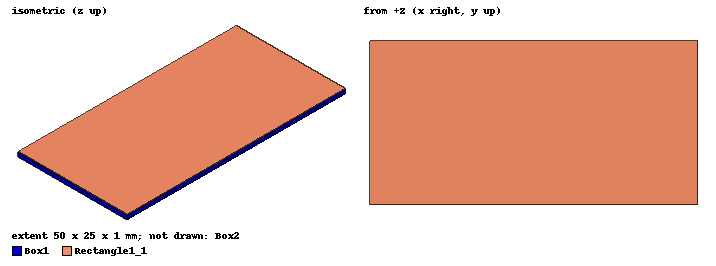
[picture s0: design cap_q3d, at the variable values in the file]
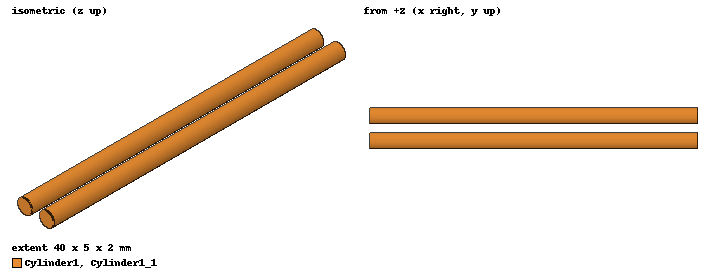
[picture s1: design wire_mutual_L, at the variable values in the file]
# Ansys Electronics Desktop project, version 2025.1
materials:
  air: permittivity=1.0006 permeability=1.0000004
  gallium_arsenide: permittivity=12.9 conductivity=1e-05
  gold: permeability=0.99996 conductivity=41000000
  sapphire: permittivity=9.4
  vacuum: permittivity=1
  copper: permeability=0.999991 conductivity=58000000
  FR4_epoxy: permittivity=4.4 dielectric_loss_tangent=0.02
  SolderMask: permittivity=3.1 dielectric_loss_tangent=0.035

design CPW_transition (HFSS, HFSS Terminal Network, model units mm)
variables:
  subx = 2mm
  suby = s + 2*(g+gnd_width) + 3000um
  subz = 500um
  s = 60um
  g = 28.5um
  gnd_width = 200um
  Tmet = 2um
  air_box_h = subz + 15000um
  porty = 3*(2*g+s)
  portz = 2*subz
  airx = subx
  airy = suby+15000um
  abpillarx = 20um
  abpillary = 20um
  abpillarz = 4um
  transition_gap = 1000um
  pillarh = 80um  # optimise 40um..120um
  sig_p_r = 20um
  overlay_pad = overlay_tol
  g_pillar_seperation = 100um
  gnd_p_r = 30um
  chipx = transition_gap+ 2*overlay_tol + 2*dielectric_overlap
  chipy = 3mm
  overlay_tol = 50um  # optimise 25um..75um
  dielectric_overlap = 1mm
  chip_s = 60um
  chip_g = 51um
  chip_gnd_width = 200um
  bonder_tol = 10um
  trace_overlap = transition_gap + 2* overlay_tol + 4*gnd_p_r + bonder_tol
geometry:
  substrate [sapphire] = box(corner=(-subx/2, -suby/2, 0mm), size=(subx, suby, subz))
  signal_dummy [vacuum, non-model] = substrate.section(plane=ZX)
  signal_dummy.thicken(s, both sides)
  gap_dummy1 [vacuum, non-model] = sweep_along_normal(signal_dummy.face(at (0, -0.03, 0.25)), length=g)
  gap_dummy2 [vacuum, non-model] = sweep_along_normal(signal_dummy.face(at (0, 0.03, 0.25)), length=g)
  gnd_dummy1 [vacuum, non-model] = sweep_along_normal(gap_dummy1.face(at (0, -0.0585, 0.25)), length=gnd_width)
  gnd_dummy2 [vacuum, non-model] = sweep_along_normal(gap_dummy2.face(at (0, 0.0585, 0.25)), length=gnd_width)
  port1 = rectangle(corner=(subx/2, -porty/2, 50um), y_size=porty, z_size=portz)
  port2 = rectangle(corner=(-subx/2, -porty/2, 50um), y_size=porty, z_size=portz)
  airbox [air] = box(corner=(-airx/2, -airy/2, -air_box_h/2), size=(airx, airy, air_box_h))
  backside_gnd [gold] = sweep_along_normal(substrate.face(-z), length=2um)
  substrate_Section1 = substrate.section(plane=YZ)
  substrate_Section1.thicken(transition_gap, both sides)
  substrate_Section1_1 = substrate_Section1.copy()
  gap_dummy1.subtract(substrate_Section1_1)
  substrate_Section1_2 = substrate_Section1.copy()
  gap_dummy2.subtract(substrate_Section1_2)
  substrate_Section1_3 = substrate_Section1.copy()
  gnd_dummy1.subtract(substrate_Section1_3)
  substrate_Section1_4 = substrate_Section1.copy()
  gnd_dummy2.subtract(substrate_Section1_4)
  signal_dummy.subtract(substrate_Section1)
  gnd1_1 [gold] = sweep_along_normal(gnd_dummy1.face(at (0.75, -0.1585, 0.5), at (-0.75, -0.1585, 0.5)), length=Tmet)
  signal1 [gold] = sweep_along_normal(signal_dummy.face(at (0.75, 0, 0.5), at (-0.75, 0, 0.5)), length=Tmet)
  gnd2_1 [gold] = sweep_along_normal(gnd_dummy2.face(at (0.75, 0.1585, 0.5), at (-0.75, 0.1585, 0.5)), length=Tmet)
  p_sig_1 [gold] = cylinder(axis=Z, base_centre=(transition_gap/2 + sig_p_r  + overlay_pad, 0mm, subz+Tmet), radius=sig_p_r, height=pillarh)
  p_gnd_1_1 [gold] = cylinder(axis=Z, base_centre=(transition_gap/2 + sig_p_r  + overlay_pad, -g -s/2 - g_pillar_seperation, subz+Tmet), radius=gnd_p_r, height=pillarh)
  p_gnd_2_1 [gold] = p_gnd_1_1.duplicate_mirror(point=(0.53mm, 0mm, 0.502mm), normal=(2.7755576e-14mm, 1mm, 0mm))
  chip [gallium_arsenide] = box(corner=(-chipx/2, -chipy/2, subz+2*Tmet+pillarh), size=(chipx, chipy, subz))
  chip_signal_dummy [gallium_arsenide, non-model] = chip.section(plane=ZX)
  chip_signal_dummy.thicken(chip_s, both sides)
  chip_gap_dummy2, chip_gap_dummy1 [gallium_arsenide, non-model] = sweep_along_normal(chip_signal_dummy.face(at (0, 0.03, 0.834), at (0, -0.03, 0.834)), length=chip_g)
  chip_gnd_dummy2 [gallium_arsenide, non-model] = sweep_along_normal(chip_gap_dummy2.face(at (0, 0.081, 0.834)), length=chip_gnd_width)
  chip_gnd_dummy1 [gallium_arsenide, non-model] = sweep_along_normal(chip_gap_dummy1.face(at (0, -0.081, 0.834)), length=chip_gnd_width)
  chip_Section1_Section1 [gallium_arsenide, non-model] = chip_signal_dummy.section(plane=YZ)
  chip_Section1_SweepFaceAlongNormal1_Section1 [gallium_arsenide, non-model] = chip_gap_dummy2.section(plane=YZ)
  chip_Section1_SweepFaceAlongNormal2_Section1 [gallium_arsenide, non-model] = chip_gap_dummy1.section(plane=YZ)
  chip_Section1_SweepFaceAlongNormal1_SweepFaceAlongNormal1_Section1 [gallium_arsenide, non-model] = chip_gnd_dummy2.section(plane=YZ)
  chip_Section1_SweepFaceAlongNormal2_SweepFaceAlongNormal1_Section1 [gallium_arsenide, non-model] = chip_gnd_dummy1.section(plane=YZ)
  [chip_Section1_Section1, chip_Section1_SweepFaceAlongNormal1_Section1, chip_Section1_SweepFaceAlongNormal2_Section1, chip_Section1_SweepFaceAlongNormal1_SweepFaceAlongNormal1_Section1, chip_Section1_SweepFaceAlongNormal2_SweepFaceAlongNormal1_Section1].thicken(trace_overlap, both sides)
  chip_gnd1 [gold] = sweep_along_normal(chip_Section1_SweepFaceAlongNormal2_SweepFaceAlongNormal1_Section1.face(at (0, -0.181, 0.584)), length=Tmet)
  chip_gnd2 [gold] = sweep_along_normal(chip_Section1_SweepFaceAlongNormal1_SweepFaceAlongNormal1_Section1.face(at (0, 0.181, 0.584)), length=Tmet)
  chip_signal [gold] = sweep_along_normal(chip_Section1_Section1.face(at (0, 0, 0.584)), length=Tmet)
  backside_gnd.move_faces(MoveAlongNormalFlag=false MoveVectorX=0.6mm MoveVectorY=0mm MoveVectorZ=0mm FacesToMove=backside_gnd.face(at (-0.4, 0, -0.001)))
  substrate.move_faces(MoveAlongNormalFlag=false MoveVectorX=0.6mm MoveVectorY=0mm MoveVectorZ=0mm FacesToMove=substrate.face(-x))
  chip_gnd1.move_faces(MoveAlongNormalFlag=false MoveVectorX=0.2666mm MoveVectorY=0mm MoveVectorZ=0mm FacesToMove=chip_gnd1.face(at (-0.615, -0.181, 0.583)))
  chip_signal.move_faces(MoveAlongNormalFlag=false MoveVectorX=0.2666mm MoveVectorY=0mm MoveVectorZ=0mm FacesToMove=chip_signal.face(at (-0.615, 0, 0.583)))
  chip_gnd2.move_faces(MoveAlongNormalFlag=false MoveVectorX=0.2666mm MoveVectorY=0mm MoveVectorZ=0mm FacesToMove=chip_gnd2.face(at (-0.615, 0.181, 0.583)))
  substrate.move_faces(MoveAlongNormalFlag=false MoveVectorX=0.0516mm MoveVectorY=1.4775mm MoveVectorZ=0.024mm FacesToMove=substrate.face(-x))
  substrate.move_faces(MoveAlongNormalFlag=false MoveVectorX=0.4484mm MoveVectorY=0mm MoveVectorZ=0mm FacesToMove=substrate.face(-x))
  chip.move_faces(MoveAlongNormalFlag=false MoveVectorX=1.2016mm MoveVectorY=1.219mm MoveVectorZ=0mm FacesToMove=chip.face(-x))
  backside_gnd.move_faces(MoveAlongNormalFlag=false MoveVectorX=0.5mm MoveVectorY=3.517mm MoveVectorZ=0mm FacesToMove=backside_gnd.face(at (-0.4, 0, -0.001)))
  port2.move(0.6516mm, 0mm, 0mm)
  chip.move_faces(MoveAlongNormalFlag=false MoveVectorX=-0.935mm MoveVectorY=1.219mm MoveVectorZ=-0.5mm FacesToMove=chip.face(+x))
  airbox.move_faces(MoveAlongNormalFlag=false MoveVectorX=0.6516mm MoveVectorY=9.083mm MoveVectorZ=7.8mm FacesToMove=airbox.face(-x))
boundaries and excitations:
  Rad1: Radiation Faces=airbox.face(-y, +z, -z, +y)
  Rad2: Radiation Faces=airbox.face(+x, -x)
  PerfE1: Perfect E Faces=backside_gnd.face(at (0.55, 0, -0.002))
  1: Wave Port Objects=port1 WavePortType=Modal NumModes=1 DeembedDist=0.385mm Modes{Mode1{IntLine{(1, 0.03, 0.502) -> (1, 0.0585, 0.502)} CharImp=Zpv RenormImp=50ohm}}
  2: Wave Port Objects=port2 WavePortType=Modal NumModes=1 DeembedDist=0.8484mm Modes{Mode1{IntLine{(-0.3484, 0.03, 0.584) -> (-0.3484, 0.081, 0.584)} CharImp=Zpv RenormImp=50ohm}}
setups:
  broadband: HfssDriven MultipleAdaptiveFreqsSetup{Low=1kHz High=40GHz} MaxDeltaS=0.02 MaximumPasses=15 MinimumPasses=1 MinimumConvergedPasses=1 PercentRefinement=30 BasisOrder=1 PortAccuracy=0.1 UseABCOnPort DrivenSolverType="Direct Solver" SaveAnyFields=false
    sweep Sweep: 100kHz to 1MHz, 201 points; Type=Interpolating InterpTolerance=0.5 InterpMaxSolns=250 PassivityErrorTolerance=0.0001
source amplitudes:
  1:1: 1V 0deg
  2:1: 0V 0deg
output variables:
  Zo = 50*(1 + re(St(signal_conductor_T1,signal_conductor_T1)))/(1-re(St(signal_conductor_T1,signal_conductor_T1)))
  lost_power_fraction = 1-(mag(St(1,1))^2 + mag(St(2,1))^2)
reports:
  Plot1: mag(1/(2*3.14*Yt(1,1)*Freq)) vs Freq on broadband : Sweep
  Plot2: mag((Yt(1,1)-Yt(2,1))/(2*3.14*Freq)) vs Freq on broadband : Sweep
  Plot3: mag((Yt(2,2)-Yt(2,1))/(2*3.14*Freq)) vs Freq on broadband : Sweep

design trasnsition (Q3D Extractor, model units mm)
options: SParamCalcMethod=EqTransLine Allow_Material_Override Calculate_Lossy_Dielectrics
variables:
  subz = 500um
  g = 28.5um
  gnd_width = 200um
  suby = s + 2*(g+gnd_width) + 3000um
  subx = 2mm
  s = 60um
  transition_gap = 1000um
  porty = 3*(2*g+s)
  portz = 2*subz
  Tmet = 2um
  pillarh = 80um
  sig_p_r = 20um
  overlay_pad = overlay_tol
  overlay_tol = 50um
  gnd_p_r = 30um
  g_pillar_seperation = 100um
  dielectric_overlap = 1mm
  chipx = transition_gap+ 2*overlay_tol + 2*dielectric_overlap
  chipy = 3mm
  chip_s = 60um
  chip_g = 51um
  chip_gnd_width = 200um
  trace_overlap = transition_gap + 2* overlay_tol + 4*gnd_p_r + bonder_tol
  bonder_tol = 10um
  airx = subx
  air_box_h = subz + 2000um
  airy = suby+2000um
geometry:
  substrate [sapphire] = box(corner=(-subx/2, -suby/2, 0mm), size=(subx, suby, subz))
  signal_dummy = substrate.section(plane=ZX)
  substrate_Section1 = substrate.section(plane=YZ)
  substrate.move_faces(MoveAlongNormalFlag=false MoveVectorX=0.6mm MoveVectorY=0mm MoveVectorZ=0mm FacesToMove=substrate.face(-x))
  substrate.move_faces(MoveAlongNormalFlag=false MoveVectorX=0.0516mm MoveVectorY=1.4775mm MoveVectorZ=0.024mm FacesToMove=substrate.face(-x))
  substrate.move_faces(MoveAlongNormalFlag=false MoveVectorX=0.4484mm MoveVectorY=0mm MoveVectorZ=0mm FacesToMove=substrate.face(-x))
  signal_dummy.thicken(s, both sides)
  gap_dummy1 = sweep_along_normal(signal_dummy.face(at (0, -0.03, 0.25)), length=g)
  gnd_dummy1 = sweep_along_normal(gap_dummy1.face(at (0, -0.0585, 0.25)), length=gnd_width)
  substrate_Section1.thicken(transition_gap, both sides)
  substrate_Section1_3 = substrate_Section1.copy()
  gnd_dummy1.subtract(substrate_Section1_3)
  gnd1_1 = sweep_along_normal(gnd_dummy1.face(at (0.75, -0.1585, 0.5), #458), length=Tmet)
  [gap_dummy1, gnd_dummy1].delete()
  gap_dummy2 = sweep_along_normal(signal_dummy.face(at (0, 0.03, 0.25)), length=g)
  substrate_Section1_4 = substrate_Section1.copy()
  signal_dummy.subtract(substrate_Section1)
  signal1 = sweep_along_normal(signal_dummy.face(at (0.75, 0, 0.5), #335), length=Tmet)
  signal_dummy.delete()
  gnd_dummy2 = sweep_along_normal(gap_dummy2.face(at (0, 0.0585, 0.25)), length=gnd_width)
  gnd_dummy2.subtract(substrate_Section1_4)
  gnd2_1 [gold] = sweep_along_normal(gnd_dummy2.face(at (0.75, 0.1585, 0.5), #521), length=Tmet)
  [gap_dummy2, gnd_dummy2].delete()
  p_sig_1 = cylinder(axis=Z, base_centre=(transition_gap/2 + sig_p_r  + overlay_pad, 0mm, subz+Tmet), radius=sig_p_r, height=pillarh)
  p_gnd_1_1 = cylinder(axis=Z, base_centre=(transition_gap/2 + sig_p_r  + overlay_pad, -g -s/2 - g_pillar_seperation, subz+Tmet), radius=gnd_p_r, height=pillarh)
  p_gnd_2_1 = p_gnd_1_1.duplicate_mirror(point=(0.53mm, 0mm, 0.502mm), normal=(2.7755576e-14mm, 1mm, 0mm))
  chip = box(corner=(-chipx/2, -chipy/2, subz+2*Tmet+pillarh), size=(chipx, chipy, subz))
  chip_signal_dummy = chip.section(plane=ZX)
  chip_signal_dummy.thicken(chip_s, both sides)
  chip_gap_dummy2, chip_gap_dummy1 = sweep_along_normal(chip_signal_dummy.face(at (0, 0.03, 0.834), at (0, -0.03, 0.834)), length=chip_g)
  chip_gnd_dummy1 = sweep_along_normal(chip_gap_dummy1.face(at (0, -0.081, 0.834)), length=chip_gnd_width)
  chip_Section1_SweepFaceAlongNormal2_SweepFaceAlongNormal1_Section1 = chip_gnd_dummy1.section(plane=YZ)
  chip_Section1_SweepFaceAlongNormal2_SweepFaceAlongNormal1_Section1.thicken(trace_overlap, both sides)
  chip_gnd1 [gold] = sweep_along_normal(chip_Section1_SweepFaceAlongNormal2_SweepFaceAlongNormal1_Section1.face(at (0, -0.181, 0.584)), length=Tmet)
  [chip, chip_gap_dummy1, chip_gnd_dummy1, chip_Section1_SweepFaceAlongNormal2_SweepFaceAlongNormal1_Section1].delete()
  chip_gnd1.move_faces(MoveAlongNormalFlag=false MoveVectorX=0.2666mm MoveVectorY=0mm MoveVectorZ=0mm FacesToMove=chip_gnd1.face(at (0.5, -0.181, 0.583)))
  chip_gnd_dummy2 = sweep_along_normal(chip_gap_dummy2.face(at (0, 0.081, 0.834)), length=chip_gnd_width)
  chip_Section1_SweepFaceAlongNormal1_SweepFaceAlongNormal1_Section1 = chip_gnd_dummy2.section(plane=YZ)
  chip_Section1_SweepFaceAlongNormal1_SweepFaceAlongNormal1_Section1.thicken(trace_overlap, both sides)
  chip_gnd2 = sweep_along_normal(chip_Section1_SweepFaceAlongNormal1_SweepFaceAlongNormal1_Section1.face(at (0, 0.181, 0.584)), length=Tmet)
  [chip_gap_dummy2, chip_gnd_dummy2, chip_Section1_SweepFaceAlongNormal1_SweepFaceAlongNormal1_Section1].delete()
  chip_gnd2.move_faces(MoveAlongNormalFlag=false MoveVectorX=0.2666mm MoveVectorY=0mm MoveVectorZ=0mm FacesToMove=gnd2_1.face(at (0.5, 0.181, 0.583)))
  chip_Section1_Section1 = chip_signal_dummy.section(plane=YZ)
  chip_Section1_Section1.thicken(trace_overlap, both sides)
  chip_signal [gold] = sweep_along_normal(chip_Section1_Section1.face(at (0, 0, 0.584)), length=Tmet)
  [chip_signal_dummy, chip_Section1_Section1].delete()
  chip_signal.move_faces(MoveAlongNormalFlag=false MoveVectorX=0.2666mm MoveVectorY=0mm MoveVectorZ=0mm FacesToMove=chip_signal.face(at (0.5, 0, 0.583)))
  airbox [air] = box(corner=(-airx/2, -airy/2, -air_box_h/2), size=(airx, airy, air_box_h))
  airbox.move_faces(MoveAlongNormalFlag=false MoveVectorX=0.6516mm MoveVectorY=9.083mm MoveVectorZ=7.8mm FacesToMove=airbox.face(-x))
  chip1 [gallium_arsenide] = box(corner=(-chipx/2, -chipy/2, subz+2*Tmet+pillarh), size=(chipx, chipy, subz))
  chip1.move_faces(MoveAlongNormalFlag=false MoveVectorX=1.2016mm MoveVectorY=1.219mm MoveVectorZ=0mm FacesToMove=chip1.face(-x))
  chip1.move_faces(MoveAlongNormalFlag=false MoveVectorX=-0.935mm MoveVectorY=1.219mm MoveVectorZ=-0.5mm FacesToMove=chip1.face(+x))
  substrate.move_faces(MoveAlongNormalFlag=false MoveVectorX=-0.385mm MoveVectorY=0.2585mm MoveVectorZ=0.084mm FacesToMove=substrate.face(+x))
  gnd1_1.move_faces(MoveAlongNormalFlag=false MoveVectorX=-0.385mm MoveVectorY=0.2585mm MoveVectorZ=0.084mm FacesToMove=chip_gnd1.face(at (0.615, -0.1585, 0.501)))
  signal1.move_faces(MoveAlongNormalFlag=false MoveVectorX=-0.385mm MoveVectorY=0.2585mm MoveVectorZ=0.084mm FacesToMove=chip_signal.face(at (0.615, 0, 0.501)))
  gnd2_1.move_faces(MoveAlongNormalFlag=false MoveVectorX=-0.385mm MoveVectorY=0.2585mm MoveVectorZ=0.084mm FacesToMove=gnd2_1.face(at (0.615, 0.1585, 0.501)))
  chip1.move_faces(MoveAlongNormalFlag=false MoveVectorX=0.4484mm MoveVectorY=-0.2585mm MoveVectorZ=-0.084mm FacesToMove=chip1.face(-x))
  chip_gnd2.move_faces(MoveAlongNormalFlag=false MoveVectorX=0.4484mm MoveVectorY=-0.2585mm MoveVectorZ=-0.084mm FacesToMove=gnd2_1.face(at (0.5, 0.181, 0.583)))
  chip_signal.move_faces(MoveAlongNormalFlag=false MoveVectorX=0.4484mm MoveVectorY=-0.2585mm MoveVectorZ=-0.084mm FacesToMove=chip_signal.face(at (0.5, 0, 0.583)))
  chip_gnd1.move_faces(MoveAlongNormalFlag=false MoveVectorX=0.4484mm MoveVectorY=-0.2585mm MoveVectorZ=-0.084mm FacesToMove=chip_gnd1.face(at (0.5, -0.181, 0.583)))
  substrate.move_faces(MoveAlongNormalFlag=true OffsetDistance=0.5mm FacesToMove=substrate.face(+x))
  chip_gnd2.move_faces(MoveAlongNormalFlag=false MoveVectorX=0.4mm MoveVectorY=1.2415mm MoveVectorZ=-0.082mm FacesToMove=gnd2_1.face(at (0.5, 0.181, 0.583)))
  chip_signal.move_faces(MoveAlongNormalFlag=false MoveVectorX=0.4mm MoveVectorY=1.2415mm MoveVectorZ=-0.082mm FacesToMove=chip_signal.face(at (0.5, 0, 0.583)))
  chip_gnd1.move_faces(MoveAlongNormalFlag=false MoveVectorX=0.4mm MoveVectorY=1.2415mm MoveVectorZ=-0.082mm FacesToMove=chip_gnd1.face(at (0.5, -0.181, 0.583)))
  gnd2_1.unite(chip_gnd2, p_gnd_2_1)
  chip_signal.unite(p_sig_1, signal1)
  chip_gnd1.unite(gnd1_1, p_gnd_1_1)
  airbox.move_faces(MoveAlongNormalFlag=false MoveVectorX=0.115mm MoveVectorY=7.5mm MoveVectorZ=-7.25mm FacesToMove=airbox.face(+x))
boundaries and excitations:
  gnd2_1: SignalNet Objects=gnd2_1
  chip_gnd1: SignalNet Objects=chip_gnd1
  chip_signal: SignalNet Objects=chip_signal
  Source1: Source Faces=chip_gnd1.face(at (0.615, -0.1585, 0.501)) TerminalType=ConstantVoltage Net=chip_gnd1
  Source2: Source Faces=chip_signal.face(at (0.615, 0, 0.501)) TerminalType=ConstantVoltage Net=chip_signal
  Source3: Source Faces=gnd2_1.face(at (0.615, 0.1585, 0.501)) TerminalType=ConstantVoltage Net=gnd2_1
  Sink1: Sink Faces=chip_gnd1.face(at (0.5, -0.181, 0.583)) TerminalType=ConstantVoltage Net=chip_gnd1
  Sink2: Sink Faces=chip_signal.face(at (0.5, 0, 0.583)) TerminalType=ConstantVoltage Net=chip_signal
  Sink3: Sink Faces=gnd2_1.face(at (0.5, 0.181, 0.583)) TerminalType=ConstantVoltage Net=gnd2_1
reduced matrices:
  JoinParallelMatrix: Operations{op(JoinParallel1, 0, "JoinParallel('gnd', 'Source3', 'Sink3', 10, 12)")}
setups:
  Setup1: Matrix AdaptiveFreq=33.5GHz Cap{MaxPass=20 MinPass=1 MinConvPass=1 PerError=1 PerRefine=30 AutoIncreaseAccuracy AccuracyLevel=High Solver_Type=Iterative} DC{Cond{MaxPass=10 MinPass=1 MinConvPass=1 PerError=1 PerRefine=30} Mult{MaxPass=1 MinPass=1 MinConvPass=1 PerError=1 PerRefine=30} AccuracyLevel=Normal} AC{MaxPass=10 MinPass=1 MinConvPass=1 PerError=1 PerRefine=30 ACRLSolverType=ACA} ErrorValue=0.1
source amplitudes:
  chip_gnd1:Source1: AC R/L Fields 1A 0deg
  chip_signal:Source2, gnd2_1:Source3: AC R/L Fields 0A 0deg
  chip_gnd1, chip_signal: CG Fields 0V 0deg
  gnd2_1: CG Fields 1V 0deg
  chip_gnd1:Source1: DC R/L Fields 1A 0deg
  chip_signal:Source2, gnd2_1:Source3: DC R/L Fields 0A 0deg

design cap_q3d (Q3D Extractor, model units mm)
options: SParamCalcMethod=EqTransLine Calculate_Lossy_Dielectrics
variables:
  x_size = 50mm
  y_size = 25mm
  d = 1mm
  airx = 60mm
  airy = 40mm
  airz = 20mm
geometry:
  Rectangle1 [copper] = rectangle(corner=(-1mm, 1mm, 0mm), x_size=x_size, y_size=y_size)
  Rectangle1_1 [copper] = Rectangle1.duplicate_along_line(step=(0mm, 0mm, d), total=2)
  Box1 [sapphire] = box(corner=(-1mm, 1mm, 0mm), size=(50mm, 25mm, 1mm))
  Box2 [air] = box(corner=(-airx/2, -airy/2, -airz/2), size=(airx, airy, airz))
  [Rectangle1, Rectangle1_1, Box1].move(-25mm, -12.5mm, -3mm)
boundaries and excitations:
  ThinCond1: ThinConductor Objects=[Rectangle1_1, Rectangle1] Material=Copper Thickness=1mm
  Rectangle1: SignalNet Objects=Rectangle1
  Rectangle1_1: SignalNet Objects=Rectangle1_1
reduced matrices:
  GroundNetMatrix: Operations{op(GroundNet1, 0, GroundNet(2))}
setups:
  Setup1: Matrix AdaptiveFreq=1GHz Cap{MaxPass=10 MinPass=1 MinConvPass=1 PerError=1 PerRefine=30 AutoIncreaseAccuracy AccuracyLevel=High Solver_Type=Iterative} ErrorValue=0.1
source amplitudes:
  Rectangle1: CG Fields 1V 0deg
  Rectangle1_1: CG Fields 0V 0deg

design wire_L (Q3D Extractor, model units mm)
options: SParamCalcMethod=EqTransLine Calculate_Lossy_Dielectrics
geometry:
  Cylinder1 [copper] = cylinder(axis=X, base_centre=(0mm, -10.5mm, 8.5mm), radius=0.5mm, height=20mm)
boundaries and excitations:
  Source1: Source Faces=Cylinder1.face(+x end) TerminalType=ConstantVoltage Net=Cylinder1
  Cylinder1: SignalNet Objects=Cylinder1
  Sink1: Sink Faces=Cylinder1.face(-x end) TerminalType=ConstantVoltage Net=Cylinder1
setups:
  Setup1: Matrix AdaptiveFreq=1kHz Cap{MaxPass=10 MinPass=1 MinConvPass=1 PerError=1 PerRefine=30 AutoIncreaseAccuracy AccuracyLevel=High Solver_Type=Iterative} DC{Cond{MaxPass=10 MinPass=1 MinConvPass=1 PerError=1 PerRefine=30} Mult{MaxPass=1 MinPass=1 MinConvPass=1 PerError=1 PerRefine=30} AccuracyLevel=Normal} AC{MaxPass=10 MinPass=1 MinConvPass=1 PerError=1 PerRefine=30 ACRLSolverType=ACA} ErrorValue=0.1
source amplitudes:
  Cylinder1:Source1: AC R/L Fields 1A 0deg
  Cylinder1: CG Fields 1V 0deg
  Cylinder1:Source1: DC R/L Fields 1A 0deg

design wire_mutual_L (Q3D Extractor, model units mm)
options: SParamCalcMethod=EqTransLine Calculate_Lossy_Dielectrics
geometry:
  Cylinder1 [copper] = cylinder(axis=X, base_centre=(0mm, -0.6mm, 0.8mm), radius=1mm, height=40mm)
  Cylinder1_1 [copper] = Cylinder1.duplicate_along_line(step=(0mm, 3mm, 0mm), total=2)
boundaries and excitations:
  Cylinder1: SignalNet Objects=Cylinder1
  Cylinder1_1: SignalNet Objects=Cylinder1_1
  Source1: Source Faces=Cylinder1_1.face(at (40, 2.4, 0.8)) TerminalType=ConstantVoltage Net=Cylinder1_1
  Sink1: Sink Faces=Cylinder1_1.face(at (0, 2.4, 0.8)) TerminalType=ConstantVoltage Net=Cylinder1_1
  Source2: Source Faces=Cylinder1.face(-x end) TerminalType=ConstantVoltage Net=Cylinder1
  Sink2: Sink Faces=Cylinder1.face(+x end) TerminalType=ConstantVoltage Net=Cylinder1
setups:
  Setup1: Matrix AdaptiveFreq=1GHz Cap{MaxPass=10 MinPass=1 MinConvPass=1 PerError=1 PerRefine=30 AutoIncreaseAccuracy AccuracyLevel=High Solver_Type=Iterative} DC{Cond{MaxPass=10 MinPass=1 MinConvPass=1 PerError=1 PerRefine=30} Mult{MaxPass=1 MinPass=1 MinConvPass=1 PerError=1 PerRefine=30} AccuracyLevel=Normal} AC{MaxPass=10 MinPass=1 MinConvPass=1 PerError=1 PerRefine=30 ACRLSolverType=ACA} ErrorValue=0.1
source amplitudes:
  Cylinder1_1:Source1: AC R/L Fields 1A 0deg
  Cylinder1:Source2: AC R/L Fields 0A 0deg
  Cylinder1: CG Fields 1V 0deg
  Cylinder1_1: CG Fields 0V 0deg
  Cylinder1_1:Source1: DC R/L Fields 1A 0deg
  Cylinder1:Source2: DC R/L Fields 0A 0deg

design Circuit1 (Circuit)
options: SParamCircuitDef IntegrationMethod=FFT
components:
  A8 = NXGCPWTRL(W=72um G=33um P=1000um)
  A1 = NXGCPWTRL(W=72um G=33um P=1000um)
  L12 = IND_()
  C13 = CAP_()
  C14 = CAP_()
  V15 = V_SIN(ACMAG=1V)
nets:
  0: V15.1, C14.0, C13.0, A1.0
  net_1: C13.1, A1.1, L12.0
  net_2: A8.0, C14.1, L12.1
  net_4: A8.1, V15.0
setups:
  LinearFrequency: LinearFrequencyData(false, 0.1, false, "", false) SweepDefinition{Variable=Freq Data="LINC 1GHz 40GHz 100"}
